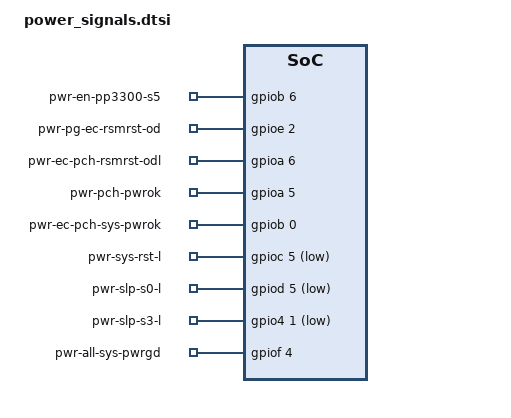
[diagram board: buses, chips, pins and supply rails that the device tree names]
/* Copyright 2023 The ChromiumOS Authors
 * Use of this source code is governed by a BSD-style license that can be
 * found in the LICENSE file.
 */

/ {
	chosen {
		intel-ap-pwrseq,espi = &espi0;
	};

	common-pwrseq {
		compatible = "intel,ap-pwrseq";

		sys-pwrok-delay = <3>;
		all-sys-pwrgd-timeout = <20>;
	};

	pwr-en-pp3300-s5 {
		compatible = "intel,ap-pwrseq-gpio";
		dbg-label = "PP1800_S5/PP3300_S5 enable output to LS";
		enum-name = "PWR_EN_PP3300_A";
		gpios = <&gpiob 6 GPIO_ACTIVE_HIGH>;
		output;
	};
	pwr-pg-ec-rsmrst-od {
		compatible = "intel,ap-pwrseq-gpio";
		dbg-label = "RSMRST power good from regulator";
		enum-name = "PWR_RSMRST_PWRGD";
		gpios = <&gpioe 2 GPIO_ACTIVE_HIGH>;
		interrupt-flags = <GPIO_INT_EDGE_BOTH>;
	};
	pwr-ec-pch-rsmrst-odl {
		compatible = "intel,ap-pwrseq-gpio";
		dbg-label = "RSMRST output to PCH";
		enum-name = "PWR_EC_PCH_RSMRST";
		gpios = <&gpioa 6 GPIO_ACTIVE_HIGH>;
		output;
	};
	pwr-pch-pwrok {
		compatible = "intel,ap-pwrseq-gpio";
		dbg-label = "PCH_PWROK output to PCH";
		enum-name = "PWR_PCH_PWROK";
		gpios = <&gpioa 5 GPIO_ACTIVE_HIGH>;
		output;
	};
	pwr-ec-pch-sys-pwrok {
		compatible = "intel,ap-pwrseq-gpio";
		dbg-label = "SYS_PWROK output to PCH";
		enum-name = "PWR_EC_PCH_SYS_PWROK";
		gpios = <&gpiob 0 GPIO_ACTIVE_HIGH>;
		output;
	};
	pwr-sys-rst-l {
		compatible = "intel,ap-pwrseq-gpio";
		dbg-label = "SYS_RESET# output to PCH";
		enum-name = "PWR_SYS_RST";
		gpios = <&gpioc 5 (GPIO_ACTIVE_LOW | GPIO_OPEN_DRAIN)>;
		output;
	};
	pwr-slp-s0-l {
		compatible = "intel,ap-pwrseq-gpio";
		dbg-label = "SLP_S0_L input from PCH";
		enum-name = "PWR_SLP_S0";
		gpios = <&gpiod 5 GPIO_ACTIVE_LOW>;
		interrupt-flags = <GPIO_INT_EDGE_BOTH>;
	};
	pwr-slp-s3-l {
		compatible = "intel,ap-pwrseq-gpio";
		dbg-label = "SLP_S3_L input from PCH";
		enum-name = "PWR_SLP_S3";
		gpios = <&gpio4 1 GPIO_ACTIVE_LOW>;
		interrupt-flags = <GPIO_INT_EDGE_BOTH>;
	};
	pwr-slp-s4 {
		compatible = "intel,ap-pwrseq-vw";
		dbg-label = "SLP_S4 virtual wire input from PCH";
		enum-name = "PWR_SLP_S4";
		virtual-wire = "ESPI_VWIRE_SIGNAL_SLP_S4";
		vw-invert;
	};
	pwr-slp-s5 {
		compatible = "intel,ap-pwrseq-vw";
		dbg-label = "SLP_S5 virtual wire input from PCH";
		enum-name = "PWR_SLP_S5";
		virtual-wire = "ESPI_VWIRE_SIGNAL_SLP_S5";
		vw-invert;
	};
	pwr-all-sys-pwrgd {
		compatible = "intel,ap-pwrseq-gpio";
		dbg-label = "all power good";
		enum-name = "PWR_ALL_SYS_PWRGD";
		gpios = <&gpiof 4 (GPIO_ACTIVE_HIGH | GPIO_PULL_UP)>;
		interrupt-flags = <GPIO_INT_EDGE_BOTH>;
	};
};

/*
 * Because the power signals directly reference the GPIOs,
 * the corresponding named-gpios need to have no-auto-init set.
 */
 /* pwr-en-pp3300-s5 */
&gpio_en_s5_rails {
	no-auto-init;
};

/* pwr-pg-ec-rsmrst-od */
&gpio_seq_ec_rsmrst_odl {
	no-auto-init;
};

/* pwr-ec-pch-rsmrst-odl */
&gpio_ec_soc_rsmrst_l {
	no-auto-init;
};

/* pwr-pch-pwrok */
&gpio_soc_pwrok {
	no-auto-init;
};

/* pwr-ec-pch-sys-pwrok */
&gpio_sys_pwrok {
	no-auto-init;
};

/* pwr-sys-rst-l */
&gpio_sys_rst_odl {
	no-auto-init;
};

/* pwr-slp-s0-l */
&gpio_sys_slp_s0ix_l {
	no-auto-init;
};

/* pwr-slp-s3-l */
&gpio_slp_s3_ls_l {
	no-auto-init;
};

/* pwr-all-sys-pwrgd */
&gpio_seq_ec_all_sys_pg_od {
	no-auto-init;
};

